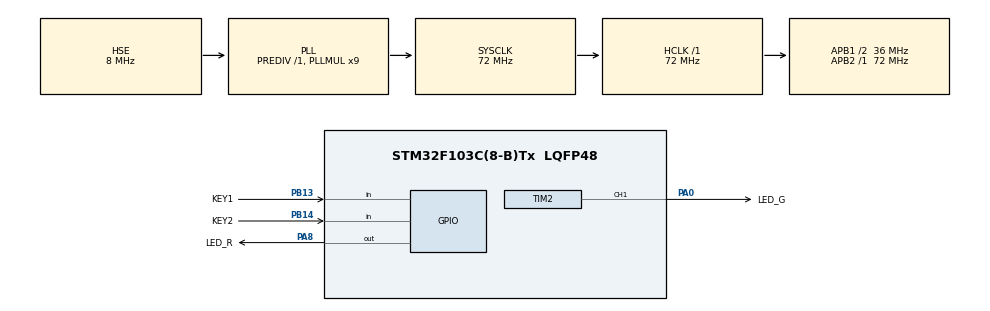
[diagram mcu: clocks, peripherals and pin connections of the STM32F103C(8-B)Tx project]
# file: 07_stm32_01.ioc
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Mcu.Family=STM32F1
Mcu.Name=STM32F103C(8-B)Tx
Mcu.Package=LQFP48
NVIC.PriorityGroup=NVIC_PRIORITYGROUP_4
PA0-WKUP.GPIO_Label=LED_G
PA0-WKUP.Signal=S_TIM2_CH1_ETR
PA13.Mode=Serial_Wire
PA13.Signal=SYS_JTMS-SWDIO
PA14.Mode=Serial_Wire
PA14.Signal=SYS_JTCK-SWCLK
PA8.GPIO_Label=LED_R
PA8.Signal=GPIO_Output
PB13.GPIO_Label=KEY1
PB13.GPIO_PuPd=GPIO_PULLUP
PB13.Signal=GPIO_Input
PB14.GPIO_Label=KEY2
PB14.GPIO_PuPd=GPIO_PULLUP
PB14.Signal=GPIO_Input
PD0-OSC_IN.Mode=HSE-External-Oscillator
PD0-OSC_IN.Signal=RCC_OSC_IN
PD1-OSC_OUT.Mode=HSE-External-Oscillator
PD1-OSC_OUT.Signal=RCC_OSC_OUT
ProjectManager.HeapSize=0x200
ProjectManager.StackSize=0x400
ProjectManager.TargetToolchain=MDK-ARM V5.32
RCC.AHBFreq_Value=72000000
RCC.APB1CLKDivider=RCC_HCLK_DIV2
RCC.APB1Freq_Value=36000000
RCC.APB1TimFreq_Value=72000000
RCC.APB2Freq_Value=72000000
RCC.APB2TimFreq_Value=72000000
RCC.HCLKFreq_Value=72000000
RCC.PLLMUL=RCC_PLL_MUL9
RCC.PLLSourceVirtual=RCC_PLLSOURCE_HSE
RCC.SYSCLKFreq_VALUE=72000000
RCC.SYSCLKSource=RCC_SYSCLKSOURCE_PLLCLK
RCC.USBFreq_Value=72000000
SH.S_TIM2_CH1_ETR.0=TIM2_CH1,PWM Generation1 CH1
TIM2.Channel-PWM\ Generation1\ CH1=TIM_CHANNEL_1
TIM2.Period=999
TIM2.Prescaler=71
VP_TIM2_VS_ClockSourceINT.Mode=Internal
board=custom

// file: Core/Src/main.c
/* USER CODE BEGIN Header */
/**
  ******************************************************************************
  * @file           : main.c
  * @brief          : Main program body
  ******************************************************************************
  * @attention
  *
  * Copyright (c) 2026 STMicroelectronics.
  * All rights reserved.
  *
  * This software is licensed under terms that can be found in the LICENSE file
  * in the root directory of this software component.
  * If no LICENSE file comes with this software, it is provided AS-IS.
  *
  ******************************************************************************
  */
/* USER CODE END Header */
#include "main.h"
#include "tim.h"
#include "gpio.h"

/* USER CODE BEGIN Includes */
#include "key.h"
#include "rgb.h"
/* USER CODE END Includes */

/* USER CODE BEGIN PV */
KeyEvent_t event;
RGB_State_t rgbState = RGB_GREEN_ON;
/* USER CODE END PV */

void SystemClock_Config(void);

int main(void)
{

  /* MCU Configuration--------------------------------------------------------*/

  /* Reset of all peripherals, Initializes the Flash interface and the Systick. */
  HAL_Init();

  /* Configure the system clock */
  SystemClock_Config();

  /* Initialize all configured peripherals */
  MX_GPIO_Init();
  MX_TIM2_Init();
  /* USER CODE BEGIN 2 */
RGB_SetState(rgbState);
HAL_TIM_PWM_Start(&htim2,
                  TIM_CHANNEL_1);
  /* USER CODE END 2 */

  /* Infinite loop */
  while (1)
  {

    /* USER CODE BEGIN 3 */
		Key_Scan_Periodic();

    event = Key_GetEvent();

    switch(event)
    {
        case KEY1_SHORT:

            rgbState++;

            if(rgbState > RGB_GREEN_BREATH)
            {
                rgbState = RGB_GREEN_ON;
            }

            RGB_SetState(rgbState);

            break;

				case KEY2_PRESSING:
					 RGB_SetState(RGB_GREEN_ON);
				   break;

				case KEY2_RELEASED:
					 RGB_SetState(RGB_OFF);
				   break;

				default:
            break;
    }

    RGB_BreathTask();
  }
  /* USER CODE END 3 */
}

void SystemClock_Config(void)
{
  RCC_OscInitTypeDef RCC_OscInitStruct = {0};
  RCC_ClkInitTypeDef RCC_ClkInitStruct = {0};

  /** Initializes the RCC Oscillators according to the specified parameters
  * in the RCC_OscInitTypeDef structure.
  */
  RCC_OscInitStruct.OscillatorType = RCC_OSCILLATORTYPE_HSE;
  RCC_OscInitStruct.HSEState = RCC_HSE_ON;
  RCC_OscInitStruct.HSEPredivValue = RCC_HSE_PREDIV_DIV1;
  RCC_OscInitStruct.HSIState = RCC_HSI_ON;
  RCC_OscInitStruct.PLL.PLLState = RCC_PLL_ON;
  RCC_OscInitStruct.PLL.PLLSource = RCC_PLLSOURCE_HSE;
  RCC_OscInitStruct.PLL.PLLMUL = RCC_PLL_MUL9;
  if (HAL_RCC_OscConfig(&RCC_OscInitStruct) != HAL_OK)
  {
    Error_Handler();
  }

  /** Initializes the CPU, AHB and APB buses clocks
  */
  RCC_ClkInitStruct.ClockType = RCC_CLOCKTYPE_HCLK|RCC_CLOCKTYPE_SYSCLK
                              |RCC_CLOCKTYPE_PCLK1|RCC_CLOCKTYPE_PCLK2;
  RCC_ClkInitStruct.SYSCLKSource = RCC_SYSCLKSOURCE_PLLCLK;
  RCC_ClkInitStruct.AHBCLKDivider = RCC_SYSCLK_DIV1;
  RCC_ClkInitStruct.APB1CLKDivider = RCC_HCLK_DIV2;
  RCC_ClkInitStruct.APB2CLKDivider = RCC_HCLK_DIV1;

  if (HAL_RCC_ClockConfig(&RCC_ClkInitStruct, FLASH_LATENCY_2) != HAL_OK)
  {
    Error_Handler();
  }
}

void Error_Handler(void)
{
  __disable_irq();
  while (1)
  {
  }
}
